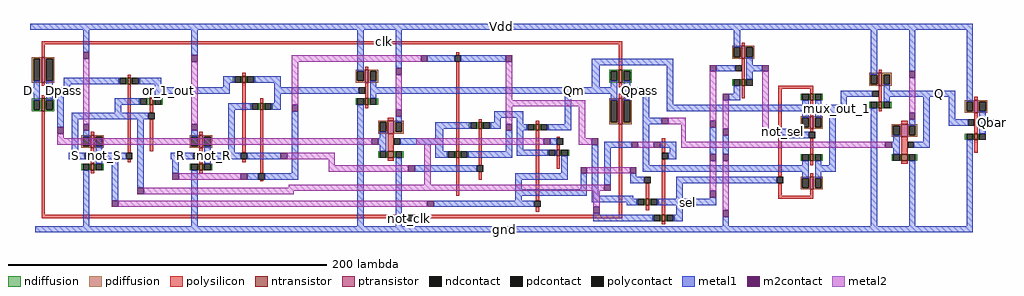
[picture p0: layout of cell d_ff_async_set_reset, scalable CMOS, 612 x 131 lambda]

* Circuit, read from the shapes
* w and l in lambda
.subckt d_ff_async_set_reset D Dpass Q Qbar Qm Qpass R S Vdd clk gnd mux_out_1 not_R not_S not_clk not_sel or_1_out sel
M1 Dpass not_clk D VSUBS nfet w=8 l=2
M2 not_S S gnd VSUBS nfet w=4 l=2
M3 or_1_out not_S Dpass VSUBS nfet w=4 l=2
M4 or_1_out S S VSUBS nfet w=4 l=2
M5 not_R R gnd VSUBS nfet w=4 l=2
M6 n1 not_R or_1_out VSUBS nfet w=4 l=2
M7 n1 R not_R VSUBS nfet w=4 l=2
M8 Qm n1 gnd VSUBS nfet w=4 l=2
M9 gnd n2 Dpass VSUBS nfet w=4 l=4
M10 R R n2 VSUBS nfet w=4 l=2
M11 n3 not_R n2 VSUBS nfet w=4 l=2
M12 Qm not_S n3 VSUBS nfet w=4 l=2
M13 not_S S n3 VSUBS nfet w=4 l=2
M14 Qpass clk Qm VSUBS nfet w=8 l=2
M15 sel not_S R VSUBS nfet w=4 l=2
M16 sel S S VSUBS nfet w=4 l=2
M17 not_sel sel gnd VSUBS nfet w=4 l=2
M18 mux_out_1 not_sel Qpass VSUBS nfet w=4 l=2
M19 mux_out_1 sel Qm VSUBS nfet w=4 l=2
M20 Q mux_out_1 gnd VSUBS nfet w=4 l=2
M21 gnd Q Qpass VSUBS nfet w=4 l=4
M22 Qbar Q gnd VSUBS nfet w=4 l=2
M23 Dpass clk D NWELL pfet w=16 l=2
M24 not_S S Vdd NWELL pfet w=8 l=2
M25 not_R R Vdd NWELL pfet w=8 l=2
M26 Qm n1 Vdd NWELL pfet w=8 l=2
M27 Vdd n2 Dpass NWELL pfet w=8 l=4
M28 Qpass not_clk Qm NWELL pfet w=16 l=2
M29 not_sel sel Vdd NWELL pfet w=8 l=2
M30 mux_out_1 sel Qpass NWELL pfet w=8 l=2
M31 mux_out_1 not_sel Qm NWELL pfet w=8 l=2
M32 Q mux_out_1 Vdd NWELL pfet w=8 l=2
M33 Vdd Q Qpass NWELL pfet w=8 l=4
M34 Qbar Q Vdd NWELL pfet w=8 l=2
.ends

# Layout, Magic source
magic
tech scmos
<< polysilicon >>
rect -124 22 89 24
rect 93 22 240 24
rect -124 14 -122 22
rect 136 15 138 17
rect 79 6 81 8
rect -70 1 -68 3
rect 2 2 4 4
rect -124 -4 -122 -2
rect -124 -12 -122 -10
rect -124 -85 -122 -20
rect -93 -35 -91 -33
rect -93 -53 -91 -43
rect -70 -46 -68 -3
rect -56 -12 -54 -10
rect -56 -21 -54 -16
rect -56 -45 -54 -25
rect -25 -35 -23 -33
rect -70 -52 -68 -50
rect -25 -53 -23 -43
rect 2 -46 4 -2
rect 79 -12 81 -2
rect 13 -15 15 -12
rect 79 -18 81 -16
rect 2 -52 4 -50
rect -93 -59 -91 -57
rect -25 -59 -23 -57
rect 13 -59 15 -19
rect 93 -26 97 -24
rect 93 -45 97 -34
rect 136 -45 138 11
rect 238 6 240 22
rect 315 21 317 23
rect 315 0 317 13
rect 401 4 403 6
rect 238 -5 240 -2
rect 238 -12 240 -9
rect 315 -12 317 -4
rect 338 -6 360 -4
rect 150 -27 152 -25
rect 186 -28 188 -26
rect 93 -51 97 -49
rect 13 -64 15 -63
rect 136 -73 138 -49
rect 150 -54 152 -31
rect 150 -63 152 -58
rect 186 -76 188 -32
rect 199 -37 201 -36
rect 199 -44 201 -41
rect 199 -56 201 -48
rect 186 -83 188 -80
rect 238 -85 240 -28
rect 265 -46 267 -37
rect 255 -75 257 -65
rect 255 -82 257 -79
rect 265 -85 267 -50
rect 338 -61 340 -6
rect 358 -9 360 -6
rect 358 -16 360 -13
rect 401 -14 403 -4
rect 461 -13 463 -11
rect 401 -20 403 -18
rect 358 -23 360 -21
rect 415 -28 419 -26
rect 358 -33 360 -31
rect 461 -34 463 -21
rect 358 -47 360 -37
rect 415 -47 419 -36
rect 461 -46 463 -38
rect 358 -54 360 -51
rect 415 -53 419 -51
rect 358 -61 360 -59
rect 338 -73 340 -65
rect 358 -73 360 -69
rect 338 -75 360 -73
rect -124 -87 105 -85
rect 109 -87 240 -85
rect 265 -91 267 -89
<< ndiffusion >>
rect -76 -3 -75 1
rect -71 -3 -70 1
rect -68 -3 -67 1
rect -63 -3 -62 1
rect -4 -2 -3 2
rect 1 -2 2 2
rect 4 -2 5 2
rect 9 -2 10 2
rect -130 -13 -124 -12
rect -130 -19 -129 -13
rect -125 -19 -124 -13
rect -130 -20 -124 -19
rect -122 -13 -116 -12
rect -122 -19 -121 -13
rect -117 -19 -116 -13
rect -122 -20 -116 -19
rect -63 -16 -62 -12
rect -58 -16 -56 -12
rect -54 -16 -53 -12
rect -49 -16 -48 -12
rect 7 -19 8 -15
rect 12 -19 13 -15
rect 15 -19 16 -15
rect 20 -19 21 -15
rect 73 -16 74 -12
rect 78 -16 79 -12
rect 81 -16 82 -12
rect 86 -16 87 -12
rect -99 -57 -98 -53
rect -94 -57 -93 -53
rect -91 -57 -90 -53
rect -86 -57 -85 -53
rect -31 -57 -30 -53
rect -26 -57 -25 -53
rect -23 -57 -22 -53
rect -18 -57 -17 -53
rect 232 5 238 6
rect 232 -1 233 5
rect 237 -1 238 5
rect 232 -2 238 -1
rect 240 5 246 6
rect 240 -1 241 5
rect 245 -1 246 5
rect 240 -2 246 -1
rect 309 -4 310 0
rect 314 -4 315 0
rect 317 -4 318 0
rect 144 -31 145 -27
rect 149 -31 150 -27
rect 152 -31 153 -27
rect 157 -31 158 -27
rect 87 -49 88 -45
rect 92 -49 93 -45
rect 97 -49 98 -45
rect 102 -49 103 -45
rect 130 -49 131 -45
rect 135 -49 136 -45
rect 138 -49 139 -45
rect 143 -49 144 -45
rect 180 -32 181 -28
rect 185 -32 186 -28
rect 188 -32 189 -28
rect 193 -32 194 -28
rect 193 -48 194 -44
rect 198 -48 199 -44
rect 201 -48 202 -44
rect 206 -48 207 -44
rect 249 -79 250 -75
rect 254 -79 255 -75
rect 257 -79 258 -75
rect 262 -79 263 -75
rect 352 -13 353 -9
rect 357 -13 358 -9
rect 360 -13 361 -9
rect 365 -13 366 -9
rect 395 -18 396 -14
rect 400 -18 401 -14
rect 403 -18 404 -14
rect 408 -18 409 -14
rect 455 -38 456 -34
rect 460 -38 461 -34
rect 463 -38 464 -34
rect 352 -51 353 -47
rect 357 -51 358 -47
rect 360 -51 361 -47
rect 365 -51 366 -47
rect 409 -51 410 -47
rect 414 -51 415 -47
rect 419 -51 420 -47
rect 424 -51 425 -47
rect 259 -89 260 -85
rect 264 -89 265 -85
rect 267 -89 268 -85
rect 272 -89 273 -85
<< pdiffusion >>
rect -130 13 -124 14
rect -130 -1 -129 13
rect -125 -1 -124 13
rect -130 -2 -124 -1
rect -122 13 -116 14
rect -122 -1 -121 13
rect -117 -1 -116 13
rect 73 5 79 6
rect -122 -2 -116 -1
rect 73 -1 74 5
rect 78 -1 79 5
rect 73 -2 79 -1
rect 81 5 87 6
rect 81 -1 82 5
rect 86 -1 87 5
rect 81 -2 87 -1
rect -99 -36 -93 -35
rect -99 -42 -98 -36
rect -94 -42 -93 -36
rect -99 -43 -93 -42
rect -91 -36 -85 -35
rect -91 -42 -90 -36
rect -86 -42 -85 -36
rect -91 -43 -85 -42
rect -31 -36 -25 -35
rect -31 -42 -30 -36
rect -26 -42 -25 -36
rect -31 -43 -25 -42
rect -23 -36 -17 -35
rect -23 -42 -22 -36
rect -18 -42 -17 -36
rect -23 -43 -17 -42
rect 87 -27 93 -26
rect 87 -33 88 -27
rect 92 -33 93 -27
rect 87 -34 93 -33
rect 97 -27 103 -26
rect 97 -33 98 -27
rect 102 -33 103 -27
rect 97 -34 103 -33
rect 309 20 315 21
rect 309 14 310 20
rect 314 14 315 20
rect 309 13 315 14
rect 317 20 323 21
rect 317 14 318 20
rect 322 14 323 20
rect 317 13 323 14
rect 395 3 401 4
rect 395 -3 396 3
rect 400 -3 401 3
rect 395 -4 401 -3
rect 403 3 409 4
rect 403 -3 404 3
rect 408 -3 409 3
rect 403 -4 409 -3
rect 232 -13 238 -12
rect 232 -27 233 -13
rect 237 -27 238 -13
rect 232 -28 238 -27
rect 240 -13 246 -12
rect 240 -27 241 -13
rect 245 -27 246 -13
rect 240 -28 246 -27
rect 455 -14 461 -13
rect 455 -20 456 -14
rect 460 -20 461 -14
rect 455 -21 461 -20
rect 463 -14 469 -13
rect 463 -20 464 -14
rect 468 -20 469 -14
rect 463 -21 469 -20
rect 352 -24 358 -23
rect 352 -30 353 -24
rect 357 -30 358 -24
rect 352 -31 358 -30
rect 360 -24 366 -23
rect 360 -30 361 -24
rect 365 -30 366 -24
rect 360 -31 366 -30
rect 409 -29 415 -28
rect 409 -35 410 -29
rect 414 -35 415 -29
rect 409 -36 415 -35
rect 419 -29 425 -28
rect 419 -35 420 -29
rect 424 -35 425 -29
rect 419 -36 425 -35
rect 352 -62 358 -61
rect 352 -68 353 -62
rect 357 -68 358 -62
rect 352 -69 358 -68
rect 360 -62 366 -61
rect 360 -68 361 -62
rect 365 -68 366 -62
rect 360 -69 366 -68
<< metal1 >>
rect -131 31 460 35
rect -98 17 -94 31
rect -30 15 -26 31
rect -129 -5 -125 -1
rect -135 -9 -125 -5
rect -129 -13 -125 -9
rect 74 5 78 31
rect 98 7 102 31
rect 310 20 314 31
rect 118 11 135 15
rect 139 11 167 15
rect -121 -5 -117 -1
rect -110 -3 -75 1
rect -63 -3 -49 1
rect -110 -5 -106 -3
rect -121 -9 -106 -5
rect -53 -5 -49 -3
rect -10 -2 -3 2
rect 9 -2 26 2
rect 221 9 272 13
rect 318 9 322 14
rect -10 -5 -6 -2
rect -53 -9 -6 -5
rect 22 -5 26 -2
rect 82 -5 86 -1
rect 221 -5 226 9
rect 233 -5 237 -1
rect 22 -9 75 -5
rect 82 -9 237 -5
rect -121 -13 -117 -9
rect -114 -30 -110 -9
rect -53 -12 -49 -9
rect -78 -16 -62 -12
rect 22 -15 26 -9
rect 82 -12 86 -9
rect -78 -21 -74 -16
rect -7 -19 8 -15
rect 20 -19 26 -15
rect -105 -25 -57 -21
rect -105 -46 -101 -25
rect -98 -36 -94 -32
rect -90 -46 -86 -42
rect -107 -50 -97 -46
rect -90 -50 -71 -46
rect -90 -53 -86 -50
rect -98 -92 -94 -57
rect -80 -76 -76 -50
rect -64 -68 -60 -25
rect -30 -36 -26 -32
rect -22 -46 -18 -42
rect -7 -46 -3 -19
rect -43 -50 -29 -46
rect -22 -50 1 -46
rect 5 -50 26 -46
rect -42 -59 -38 -50
rect -22 -53 -18 -50
rect -30 -92 -26 -57
rect 33 -59 37 -20
rect 5 -63 12 -59
rect 16 -63 37 -59
rect 74 -92 78 -16
rect 98 -27 102 -23
rect 160 -24 178 -20
rect 160 -27 164 -24
rect 123 -31 145 -27
rect 157 -31 164 -27
rect 174 -28 178 -24
rect 204 -28 208 -9
rect 233 -13 237 -9
rect 241 -5 245 -1
rect 241 -9 257 -5
rect 241 -13 245 -9
rect 253 -24 257 -9
rect 268 -16 272 9
rect 299 5 311 9
rect 318 5 328 9
rect 318 0 322 5
rect 396 3 400 31
rect 420 5 424 31
rect 310 -9 314 -4
rect 404 -7 408 -3
rect 307 -13 314 -9
rect 353 -16 357 -13
rect 268 -20 357 -16
rect 353 -24 357 -20
rect 88 -37 92 -33
rect 123 -37 128 -31
rect 87 -41 92 -37
rect 101 -41 128 -37
rect 88 -45 92 -41
rect 123 -45 128 -41
rect 167 -45 171 -32
rect 123 -49 131 -45
rect 143 -49 171 -45
rect 174 -32 181 -28
rect 193 -32 208 -28
rect 253 -28 265 -24
rect 174 -44 178 -32
rect 195 -41 199 -37
rect 174 -48 194 -44
rect 198 -48 199 -44
rect 98 -92 102 -49
rect 110 -58 149 -54
rect 202 -59 206 -48
rect 173 -63 206 -59
rect 173 -69 177 -63
rect 214 -69 218 -59
rect 173 -73 218 -69
rect 221 -73 225 -41
rect 229 -43 246 -39
rect 229 -66 233 -43
rect 253 -54 257 -28
rect 361 -16 365 -13
rect 377 -11 397 -7
rect 404 -11 449 -7
rect 377 -16 381 -11
rect 404 -14 408 -11
rect 361 -20 381 -16
rect 361 -24 365 -20
rect 264 -43 274 -39
rect 270 -46 274 -43
rect 269 -50 274 -46
rect 295 -47 299 -30
rect 332 -33 349 -31
rect 332 -35 357 -33
rect 303 -47 307 -35
rect 345 -37 357 -35
rect 353 -54 357 -51
rect 253 -58 357 -54
rect 245 -61 249 -59
rect 245 -65 254 -61
rect 274 -65 337 -61
rect 353 -62 357 -58
rect 173 -76 177 -73
rect 221 -75 247 -73
rect 274 -75 278 -65
rect 361 -54 365 -51
rect 370 -54 374 -20
rect 361 -58 374 -54
rect 361 -62 365 -58
rect 295 -75 299 -74
rect 122 -80 185 -76
rect 221 -77 250 -75
rect 243 -79 250 -77
rect 262 -79 299 -75
rect 222 -85 226 -84
rect 274 -85 278 -79
rect 222 -89 260 -85
rect 272 -89 278 -85
rect 303 -92 307 -86
rect 396 -92 400 -18
rect 420 -29 424 -25
rect 410 -39 414 -35
rect 429 -39 433 -11
rect 445 -25 449 -11
rect 456 -14 460 31
rect 464 -25 468 -20
rect 445 -29 457 -25
rect 464 -29 477 -25
rect 464 -34 468 -29
rect 409 -43 414 -39
rect 423 -43 433 -39
rect 410 -47 414 -43
rect 420 -92 424 -51
rect 456 -92 460 -38
rect -128 -96 460 -92
<< metal2 >>
rect -98 -28 -94 13
rect -30 -28 -26 11
rect 33 11 114 15
rect 33 -16 37 11
rect 98 -19 102 3
rect 167 -13 171 11
rect 167 -17 217 -13
rect 167 -28 171 -17
rect -114 -37 -110 -34
rect 213 -37 217 -17
rect 269 -28 280 -24
rect -114 -41 83 -37
rect 111 -41 191 -37
rect 213 -41 221 -37
rect 277 -39 280 -28
rect 295 -26 299 5
rect 303 -31 307 -13
rect 328 -31 332 5
rect 420 -21 424 1
rect 30 -50 60 -46
rect 56 -54 60 -50
rect 56 -58 106 -54
rect -38 -63 1 -59
rect 116 -66 120 -41
rect 250 -43 260 -39
rect 277 -43 405 -39
rect 218 -59 245 -55
rect 31 -68 229 -66
rect -60 -70 229 -68
rect 295 -70 299 -51
rect -60 -72 34 -70
rect -76 -80 118 -76
rect 222 -80 226 -70
rect 303 -82 307 -51
<< ntransistor >>
rect -70 -3 -68 1
rect 2 -2 4 2
rect -124 -20 -122 -12
rect -56 -16 -54 -12
rect 13 -19 15 -15
rect 79 -16 81 -12
rect -93 -57 -91 -53
rect -25 -57 -23 -53
rect 238 -2 240 6
rect 315 -4 317 0
rect 150 -31 152 -27
rect 93 -49 97 -45
rect 136 -49 138 -45
rect 186 -32 188 -28
rect 199 -48 201 -44
rect 255 -79 257 -75
rect 358 -13 360 -9
rect 401 -18 403 -14
rect 461 -38 463 -34
rect 358 -51 360 -47
rect 415 -51 419 -47
rect 265 -89 267 -85
<< ptransistor >>
rect -124 -2 -122 14
rect 79 -2 81 6
rect -93 -43 -91 -35
rect -25 -43 -23 -35
rect 93 -34 97 -26
rect 315 13 317 21
rect 401 -4 403 4
rect 238 -28 240 -12
rect 461 -21 463 -13
rect 358 -31 360 -23
rect 415 -36 419 -28
rect 358 -69 360 -61
<< polycontact >>
rect 89 22 93 26
rect 135 11 139 15
rect -97 -50 -93 -46
rect -57 -25 -53 -21
rect -71 -50 -67 -46
rect -29 -50 -25 -46
rect 75 -9 79 -5
rect 1 -50 5 -46
rect 97 -41 101 -37
rect 311 5 315 9
rect 12 -63 16 -59
rect 149 -58 153 -54
rect 199 -41 203 -37
rect 185 -80 189 -76
rect 265 -50 269 -46
rect 254 -65 258 -61
rect 397 -11 401 -7
rect 357 -37 361 -33
rect 457 -29 461 -25
rect 419 -43 423 -39
rect 337 -65 341 -61
rect 105 -89 109 -85
<< ndcontact >>
rect -75 -3 -71 1
rect -67 -3 -63 1
rect -3 -2 1 2
rect 5 -2 9 2
rect -129 -19 -125 -13
rect -121 -19 -117 -13
rect -62 -16 -58 -12
rect -53 -16 -49 -12
rect 8 -19 12 -15
rect 16 -19 20 -15
rect 74 -16 78 -12
rect 82 -16 86 -12
rect -98 -57 -94 -53
rect -90 -57 -86 -53
rect -30 -57 -26 -53
rect -22 -57 -18 -53
rect 233 -1 237 5
rect 241 -1 245 5
rect 310 -4 314 0
rect 318 -4 322 0
rect 145 -31 149 -27
rect 153 -31 157 -27
rect 88 -49 92 -45
rect 98 -49 102 -45
rect 131 -49 135 -45
rect 139 -49 143 -45
rect 181 -32 185 -28
rect 189 -32 193 -28
rect 194 -48 198 -44
rect 202 -48 206 -44
rect 250 -79 254 -75
rect 258 -79 262 -75
rect 353 -13 357 -9
rect 361 -13 365 -9
rect 396 -18 400 -14
rect 404 -18 408 -14
rect 456 -38 460 -34
rect 464 -38 468 -34
rect 353 -51 357 -47
rect 361 -51 365 -47
rect 410 -51 414 -47
rect 420 -51 424 -47
rect 260 -89 264 -85
rect 268 -89 272 -85
<< pdcontact >>
rect -129 -1 -125 13
rect -121 -1 -117 13
rect 74 -1 78 5
rect 82 -1 86 5
rect -98 -42 -94 -36
rect -90 -42 -86 -36
rect -30 -42 -26 -36
rect -22 -42 -18 -36
rect 88 -33 92 -27
rect 98 -33 102 -27
rect 310 14 314 20
rect 318 14 322 20
rect 396 -3 400 3
rect 404 -3 408 3
rect 233 -27 237 -13
rect 241 -27 245 -13
rect 456 -20 460 -14
rect 464 -20 468 -14
rect 353 -30 357 -24
rect 361 -30 365 -24
rect 410 -35 414 -29
rect 420 -35 424 -29
rect 353 -68 357 -62
rect 361 -68 365 -62
<< m2contact >>
rect -98 13 -94 17
rect -30 11 -26 15
rect 114 11 118 15
rect 167 11 171 15
rect 98 3 102 7
rect -114 -34 -110 -30
rect -98 -32 -94 -28
rect -30 -32 -26 -28
rect 33 -20 37 -16
rect 26 -50 30 -46
rect -42 -63 -38 -59
rect -64 -72 -60 -68
rect -80 -80 -76 -76
rect 1 -63 5 -59
rect 98 -23 102 -19
rect 295 5 299 9
rect 328 5 332 9
rect 420 1 424 5
rect 303 -13 307 -9
rect 83 -41 87 -37
rect 167 -32 171 -28
rect 265 -28 269 -24
rect 191 -41 195 -37
rect 221 -41 225 -37
rect 106 -58 110 -54
rect 214 -59 218 -55
rect 246 -43 250 -39
rect 295 -30 299 -26
rect 260 -43 264 -39
rect 295 -51 299 -47
rect 303 -35 307 -31
rect 328 -35 332 -31
rect 303 -51 307 -47
rect 245 -59 249 -55
rect 229 -70 233 -66
rect 295 -74 299 -70
rect 118 -80 122 -76
rect 222 -84 226 -80
rect 303 -86 307 -82
rect 420 -25 424 -21
rect 405 -43 409 -39
<< labels >>
rlabel metal1 -135 -9 -129 -5 0 D
rlabel metal1 -107 -50 -99 -46 0 S
rlabel metal1 -114 -9 -106 -5 0 Dpass
rlabel metal1 -49 -9 -40 -5 0 or_1_out
rlabel metal1 -90 -50 -79 -46 0 not_S
rlabel metal1 207 -9 214 -5 0 Qm
rlabel metal1 245 -9 257 -5 0 Qpass
rlabel metal1 -43 -50 -31 -46 0 R
rlabel metal1 -22 -50 -10 -46 0 not_R
rlabel polycontact 105 -89 109 -85 0 not_clk
rlabel polycontact 89 22 93 26 0 clk
rlabel metal1 369 -20 381 -16 1 mux_out_1
rlabel metal1 433 -11 445 -7 0 Q
rlabel metal1 332 -35 349 -31 0 not_sel
rlabel metal1 263 -79 299 -75 0 sel
rlabel metal1 468 -29 477 -25 0 Qbar
rlabel metal1 -131 31 460 35 0 Vdd
rlabel metal1 -128 -96 460 -92 0 gnd
<< end >>
